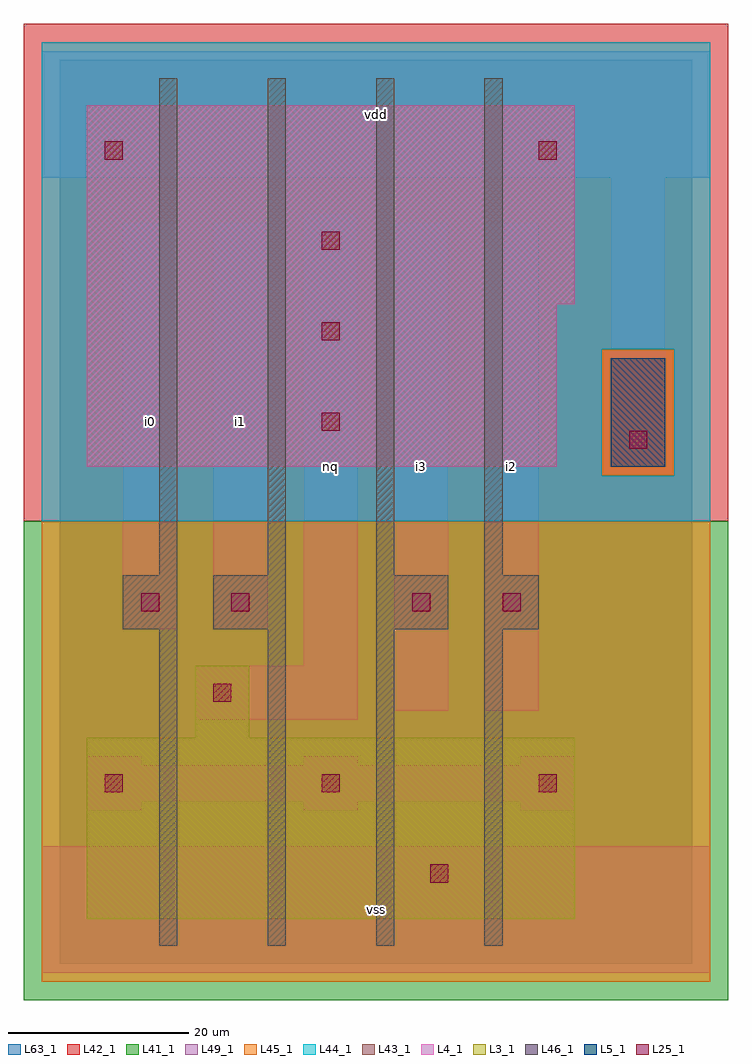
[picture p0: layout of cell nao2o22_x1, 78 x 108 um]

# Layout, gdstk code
import gdstk
lib = gdstk.Library(unit=1e-6, precision=1e-09)
def R(c, l, rs):  # rectangles x0, y0, x1, y1
    for r in rs: c.add(gdstk.rectangle(r[:2], r[2:], *l))
def A(c, l, x, y, w, h, nx, ny, dx, dy):  # array of equal rectangles
    R(c, l, [(x+i*dx, y+j*dy, x+i*dx+w, y+j*dy+h) for i in range(nx) for j in range(ny)])
L3_1 = (3, 1)
L4_1 = (4, 1)
L5_1 = (5, 1)
L25_1 = (25, 1)
L41_1 = (41, 1)
L42_1 = (42, 1)
L43_1 = (43, 1)
L44_1 = (44, 1)
L45_1 = (45, 1)
L46_1 = (46, 1)
L49_1 = (49, 1)
L63_1 = (63, 1)

nao2o22_x1 = lib.new_cell('nao2o22_x1')
R(nao2o22_x1, L3_1, [(3,5,57,25), (15,25,21,33)])
R(nao2o22_x1, L4_1, [(3,55,55,73), (3,73,57,95)])
R(nao2o22_x1, L5_1, [(61,55,67,67)])
A(nao2o22_x1, L25_1, 5, 19, 2, 2, 3, 1, 24, 0)
A(nao2o22_x1, L25_1, 29, 59, 2, 2, 1, 3, 0, 10)
R(nao2o22_x1, L25_1, [(41,9,43,11), (17,29,19,31), (9,39,11,41), (19,39,21,41), (39,39,41,41), (49,39,51,41), (63,57,65,59), (5,89,7,91), (53,89,55,91)])
R(nao2o22_x1, L41_1, [(-4,-4,74,49)])
R(nao2o22_x1, L42_1, [(-4,49,74,104)])
R(nao2o22_x1, L43_1, [(3,5,57,25), (15,25,21,33), (3,55,55,73), (61,55,67,67), (3,73,57,95)])
R(nao2o22_x1, L44_1, [(-2,49,72,54), (-2,54,60,68), (68,54,72,68), (-2,68,72,102)])
R(nao2o22_x1, L45_1, [(-2,-2,72,49), (60,54,68,68)])
A(nao2o22_x1, L46_1, 11, 2, 2, 35, 4, 1, 12, 0)
A(nao2o22_x1, L46_1, 11, 43, 2, 55, 4, 1, 12, 0)
R(nao2o22_x1, L46_1, [(7,37,13,43), (17,37,25,43), (35,37,43,43), (47,37,53,43)])
A(nao2o22_x1, L49_1, 3, 17, 6, 1, 3, 2, 24, 5)
R(nao2o22_x1, L49_1, [(-2,-1,72,13), (3,18,57,22), (15,27,33,33), (37,28,43,82), (47,28,53,82), (27,33,33,83), (7,37,13,82), (17,37,23,82), (61,55,67,87), (-2,87,72,101)])
R(nao2o22_x1, L63_1, [(0,0,70,100)])
nao2o22_x1.add(gdstk.Label('i0', (10,60), layer=49, texttype=1))
nao2o22_x1.add(gdstk.Label('i0', (10,60), layer=49, texttype=1))
nao2o22_x1.add(gdstk.Label('nq', (30,55), layer=49, texttype=1))
nao2o22_x1.add(gdstk.Label('i1', (20,60), layer=49, texttype=1))
nao2o22_x1.add(gdstk.Label('nq', (30,55), layer=49, texttype=1))
nao2o22_x1.add(gdstk.Label('i1', (20,60), layer=49, texttype=1))
nao2o22_x1.add(gdstk.Label('vss', (35,6), layer=49, texttype=1))
nao2o22_x1.add(gdstk.Label('vss', (35,6), layer=49, texttype=1))
nao2o22_x1.add(gdstk.Label('i2', (50,55), layer=49, texttype=1))
nao2o22_x1.add(gdstk.Label('i3', (40,55), layer=49, texttype=1))
nao2o22_x1.add(gdstk.Label('i2', (50,55), layer=49, texttype=1))
nao2o22_x1.add(gdstk.Label('i3', (40,55), layer=49, texttype=1))
nao2o22_x1.add(gdstk.Label('vdd', (35,94), layer=49, texttype=1))
nao2o22_x1.add(gdstk.Label('vdd', (35,94), layer=49, texttype=1))

lib.write_gds('nao2o22_x1.gds')
